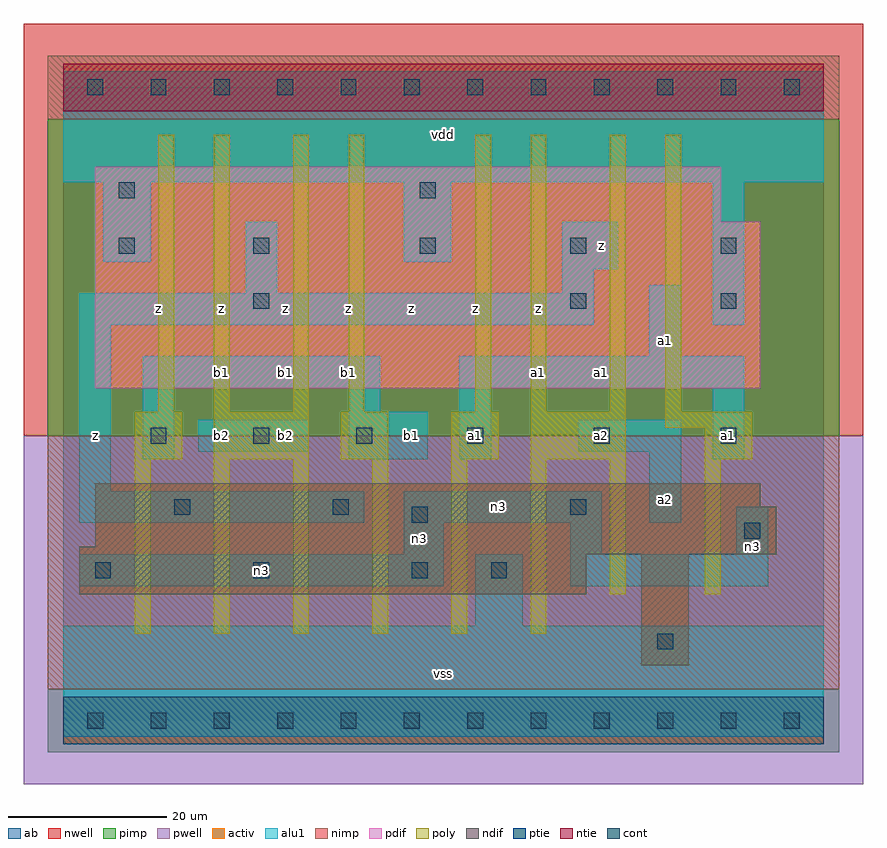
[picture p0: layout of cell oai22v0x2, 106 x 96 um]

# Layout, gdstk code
import gdstk
lib = gdstk.Library(unit=1e-6, precision=1e-09)
def R(c, l, rs):  # rectangles x0, y0, x1, y1
    for r in rs: c.add(gdstk.rectangle(r[:2], r[2:], *l))
def A(c, l, x, y, w, h, nx, ny, dx, dy):  # array of equal rectangles
    R(c, l, [(x+i*dx, y+j*dy, x+i*dx+w, y+j*dy+h) for i in range(nx) for j in range(ny)])
ndif = (3, 0)
pdif = (4, 0)
ntie = (5, 0)
ptie = (6, 0)
cont = (25, 0)
pwell = (41, 0)
nwell = (42, 0)
activ = (43, 0)
pimp = (44, 0)
nimp = (45, 0)
poly = (46, 0)
alu1 = (49, 0)
ab = (63, 0)

oai22v0x2 = lib.new_cell('oai22v0x2')
R(oai22v0x2, ndif, [(73,7,79,21), (2,16,66,21), (2,21,90,22), (4,22,90,27), (4,27,88,30)])
R(oai22v0x2, pdif, [(4,42,88,63), (4,63,83,70)])
R(oai22v0x2, ntie, [(0,77,96,83)])
R(oai22v0x2, ptie, [(0,-3,96,3)])
A(oai22v0x2, cont, 3, -1, 2, 2, 12, 2, 8, 80)
A(oai22v0x2, cont, 4, 18, 2, 2, 3, 1, 20, 0)
A(oai22v0x2, cont, 11, 35, 2, 2, 3, 1, 13, 0)
A(oai22v0x2, cont, 51, 35, 2, 2, 3, 1, 16, 0)
A(oai22v0x2, cont, 45, 59, 2, 2, 3, 1, 19, 0)
R(oai22v0x2, cont, [(75,9,77,11), (54,18,56,20), (86,23,88,25), (44,25,46,27), (14,26,16,28), (34,26,36,28), (64,26,66,28), (24,52,26,54), (64,52,66,54), (83,52,85,54), (7,59,9,61), (24,59,26,61), (7,66,9,68), (45,66,47,68)])
R(oai22v0x2, pwell, [(-5,-8,101,36)])
R(oai22v0x2, nwell, [(-5,36,101,88)])
R(oai22v0x2, activ, [(0,-3,96,3), (73,7,79,21), (2,16,66,21), (2,21,90,22), (4,22,90,27), (4,27,88,30), (4,42,88,63), (4,63,83,70), (0,77,96,83)])
R(oai22v0x2, pimp, [(-2,-4,98,4), (-2,36,98,76)])
R(oai22v0x2, nimp, [(-2,4,98,36), (-2,76,98,84)])
A(oai22v0x2, poly, 9, 11, 2, 22, 6, 1, 10, 0)
R(oai22v0x2, poly, [(69,16,71,33), (81,16,83,33), (9,33,15,39), (19,33,31,39), (35,33,41,39), (49,33,55,39), (59,33,71,39), (81,33,87,37), (76,37,87,39), (12,39,14,74), (19,39,21,74), (29,39,31,74), (36,39,38,74), (52,39,54,74), (59,39,61,74), (69,39,71,74), (76,39,78,74)])
R(oai22v0x2, alu1, [(0,-2,96,12), (52,12,58,21), (2,17,48,21), (64,17,89,21), (43,21,48,25), (64,21,68,25), (85,21,89,27), (2,25,38,29), (43,25,68,29), (74,25,78,34), (2,29,6,50), (10,33,14,42), (36,33,46,39), (50,33,54,42), (82,33,86,42), (17,34,31,38), (65,34,78,38), (36,39,40,42), (10,42,40,46), (50,42,86,46), (74,46,78,55), (2,50,67,54), (82,50,86,68), (23,54,27,63), (63,54,67,57), (63,57,70,63), (5,58,11,68), (43,58,49,68), (0,68,96,82)])
R(oai22v0x2, ab, [(0,0,96,80)])
oai22v0x2.add(gdstk.Label('n3', (45,23), layer=49, texttype=0))
oai22v0x2.add(gdstk.Label('n3', (25,19), layer=49, texttype=0))
oai22v0x2.add(gdstk.Label('n3', (55,27), layer=49, texttype=0))
oai22v0x2.add(gdstk.Label('n3', (87,22), layer=49, texttype=0))
oai22v0x2.add(gdstk.Label('z', (4,36), layer=49, texttype=0))
oai22v0x2.add(gdstk.Label('z', (12,52), layer=49, texttype=0))
oai22v0x2.add(gdstk.Label('b2', (20,36), layer=49, texttype=0))
oai22v0x2.add(gdstk.Label('b1', (20,44), layer=49, texttype=0))
oai22v0x2.add(gdstk.Label('b2', (28,36), layer=49, texttype=0))
oai22v0x2.add(gdstk.Label('b1', (28,44), layer=49, texttype=0))
oai22v0x2.add(gdstk.Label('z', (28,52), layer=49, texttype=0))
oai22v0x2.add(gdstk.Label('z', (20,52), layer=49, texttype=0))
oai22v0x2.add(gdstk.Label('vss', (48,6), layer=49, texttype=0))
oai22v0x2.add(gdstk.Label('b1', (36,44), layer=49, texttype=0))
oai22v0x2.add(gdstk.Label('b1', (44,36), layer=49, texttype=0))
oai22v0x2.add(gdstk.Label('a1', (52,36), layer=49, texttype=0))
oai22v0x2.add(gdstk.Label('z', (44,52), layer=49, texttype=0))
oai22v0x2.add(gdstk.Label('z', (52,52), layer=49, texttype=0))
oai22v0x2.add(gdstk.Label('z', (36,52), layer=49, texttype=0))
oai22v0x2.add(gdstk.Label('vdd', (48,74), layer=49, texttype=0))
oai22v0x2.add(gdstk.Label('a2', (76,28), layer=49, texttype=0))
oai22v0x2.add(gdstk.Label('a1', (60,44), layer=49, texttype=0))
oai22v0x2.add(gdstk.Label('a2', (68,36), layer=49, texttype=0))
oai22v0x2.add(gdstk.Label('a1', (68,44), layer=49, texttype=0))
oai22v0x2.add(gdstk.Label('a1', (76,48), layer=49, texttype=0))
oai22v0x2.add(gdstk.Label('z', (60,52), layer=49, texttype=0))
oai22v0x2.add(gdstk.Label('z', (68,60), layer=49, texttype=0))
oai22v0x2.add(gdstk.Label('a1', (84,36), layer=49, texttype=0))

lib.write_gds('oai22v0x2.gds')
